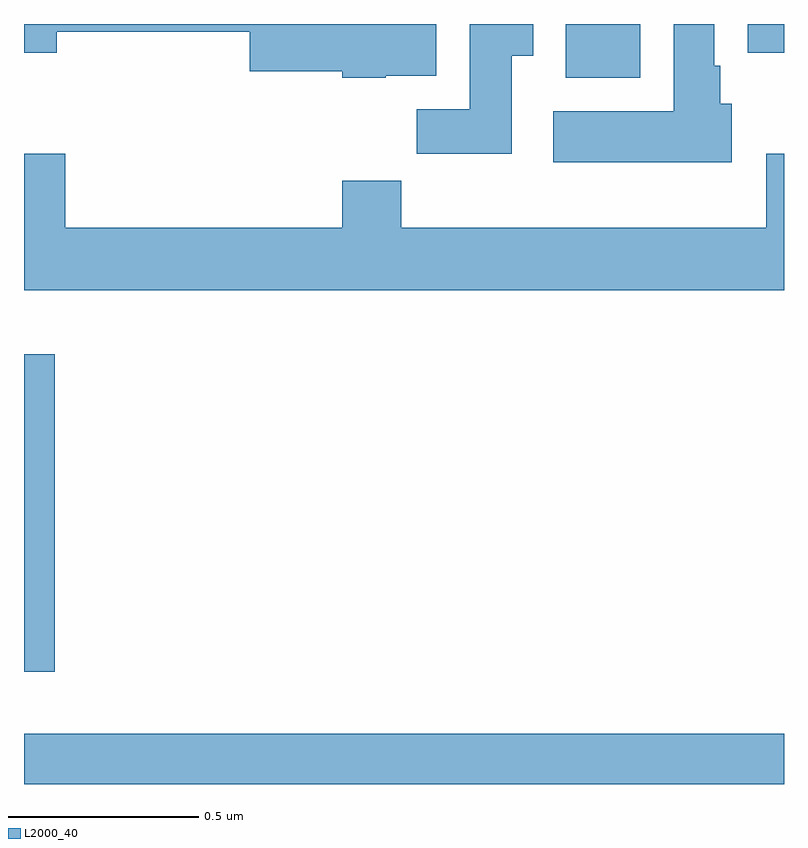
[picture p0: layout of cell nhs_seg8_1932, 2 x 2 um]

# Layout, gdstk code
import gdstk
lib = gdstk.Library(unit=1e-6, precision=1e-09)
def R(c, l, rs):  # rectangles x0, y0, x1, y1
    for r in rs: c.add(gdstk.rectangle(r[:2], r[2:], *l))
def P(c, l, *ps):  # polygons
    for p in ps: c.add(gdstk.Polygon(p, *l))
L2000_40 = (2000, 40)

nhs_seg8_1932 = lib.new_cell('nhs_seg8_1932')
R(nhs_seg8_1932, L2000_40, [(137,1081.9,139,1082.032), (137,1082.196,137.081,1083.031), (138.425,1083.758,138.622,1083.9), (138.905,1083.824,139,1083.9)])
P(nhs_seg8_1932, L2000_40, [(138.862,1083.69),(138.832,1083.69),(138.832,1083.79),(138.817,1083.79),(138.817,1083.9),(138.71,1083.9),(138.71,1083.67),(138.393,1083.67),(138.393,1083.536),(138.862,1083.536)],
  [(137.952,1083.764),(138.085,1083.764),(138.085,1083.9),(137,1083.9),(137,1083.824),(137.086,1083.824),(137.086,1083.88),(137.594,1083.88),(137.594,1083.776),(137.838,1083.776),(137.838,1083.758),(137.952,1083.758)],
  [(138.283,1083.817),(138.34,1083.817),(138.34,1083.9),(138.173,1083.9),(138.173,1083.676),(138.034,1083.676),(138.034,1083.558),(138.283,1083.558)],
  [(139,1083.559),(138.953,1083.559),(138.953,1083.364),(137.993,1083.364),(137.993,1083.488),(137.837,1083.488),(137.837,1083.364),(137.108,1083.364),(137.108,1083.559),(137,1083.559),(137,1083.2),(139,1083.2)])

lib.write_gds('nhs_seg8_1932.gds')
